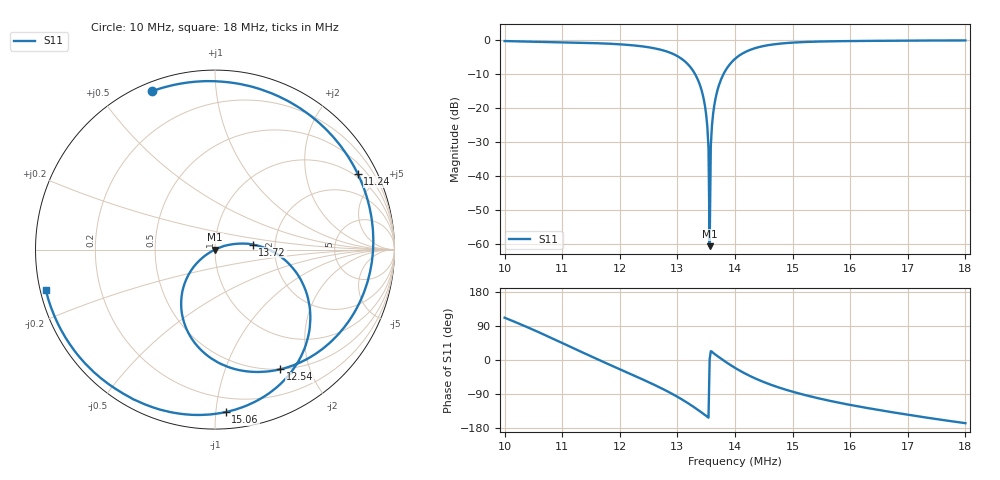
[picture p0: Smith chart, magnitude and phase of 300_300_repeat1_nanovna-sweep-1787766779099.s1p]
! NanoVNA Web complex sweep
! Processing: original sample grid, no browser smoothing
# Hz S RI R 50
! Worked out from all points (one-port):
!   401 points, 10 MHz to 18 MHz, reference 50 ohm
!   lowest |S11| = -60.6 dB at 13.56 MHz (marker M1), VSWR 1.00, Z = 50.1 + j0.00344 ohm
!   |S11| at or under -10 dB: 13.3 MHz to 13.8 MHz (501.8 kHz wide, 3.7 % of centre)
!   S11 on the Smith chart (normalised r, x): 10 MHz: 0.04, +0.68; 11.24 MHz: 0.86, +3.84; 12.54 MHz: 0.50, -1.57; 13.72 MHz: 1.53, +0.09; 15.06 MHz: 0.10, -1.06; 18 MHz: 0.02, -0.12
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1e7  -0.3492 0.8833
1.05e7  0.1685 0.9163
1.1e7  0.6448 0.6426
1.124e7  0.7956 0.4217
1.162e7  0.8815 0.0215
1.2e7  0.7754 -0.3519
1.254e7  0.3647 -0.6667
1.278e7  0.1298 -0.6704
1.3e7  -0.0699 -0.567
1.324e7  -0.1874 -0.3311
1.34e7  -0.1483 -0.1414
1.348e7  -0.0858 -0.0597
1.35e7  -0.0662 -0.0422
1.352e7  -0.0451 -0.0263
1.356e7  0.000936 3.44e-05
1.36e7  0.0508 0.0205
1.362e7  0.0771 0.0263
1.364e7  0.1035 0.0307
1.372e7  0.2107 0.0283
1.384e7  0.356 -0.0319
1.4e7  0.4864 -0.1847
1.436e7  0.4907 -0.5701
1.466e7  0.3268 -0.7813
1.5e7  0.0997 -0.8953
1.506e7  0.0602 -0.905
1.6e7  -0.4527 -0.8353
1.7e7  -0.7848 -0.5611
1.8e7  -0.9433 -0.2225
